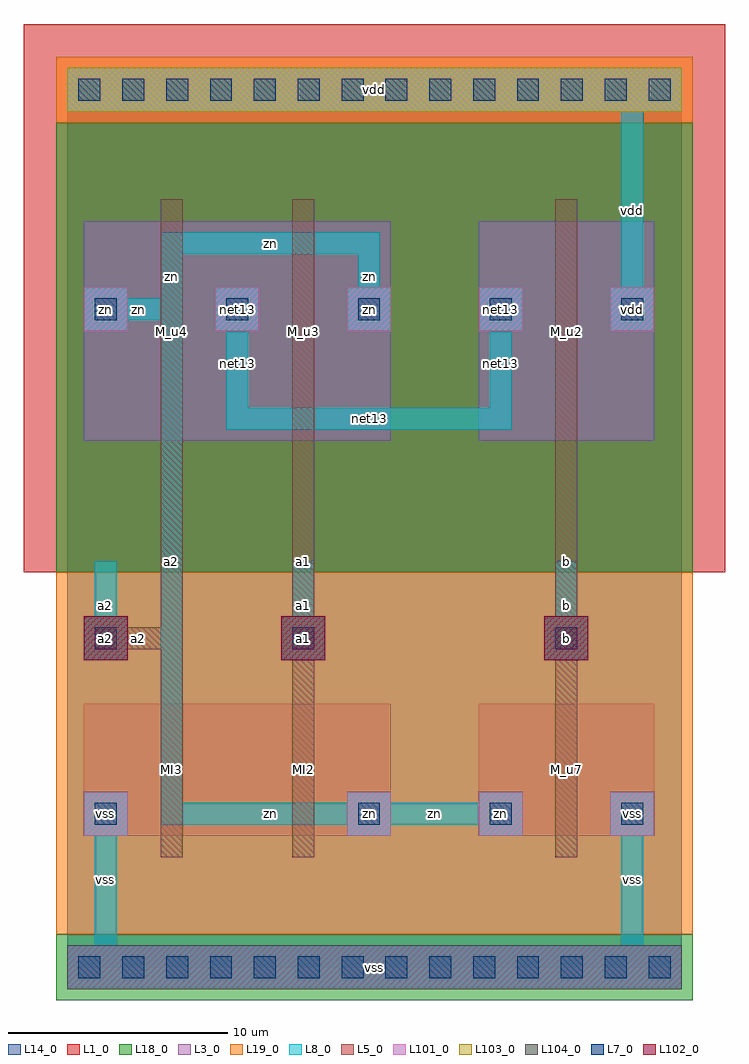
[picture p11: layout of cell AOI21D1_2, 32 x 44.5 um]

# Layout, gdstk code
import gdstk
lib = gdstk.Library(unit=1e-6, precision=1e-09)
def R(c, l, rs):  # rectangles x0, y0, x1, y1
    for r in rs: c.add(gdstk.rectangle(r[:2], r[2:], *l))
def A(c, l, x, y, w, h, nx, ny, dx, dy):  # array of equal rectangles
    R(c, l, [(x+i*dx, y+j*dy, x+i*dx+w, y+j*dy+h) for i in range(nx) for j in range(ny)])
L1_0 = (1, 0)
L3_0 = (3, 0)
L5_0 = (5, 0)
L7_0 = (7, 0)
L8_0 = (8, 0)
L13_0 = (13, 0)
L14_0 = (14, 0)
L18_0 = (18, 0)
L19_0 = (19, 0)
L101_0 = (101, 0)
L102_0 = (102, 0)
L103_0 = (103, 0)
L104_0 = (104, 0)

aoi21d1_2 = lib.new_cell('AOI21D1_2')
R(aoi21d1_2, L1_0, [(-2,18,30,43)])
A(aoi21d1_2, L3_0, 12.75, 6, 2, 2, 3, 1, 6, 0)
A(aoi21d1_2, L3_0, 0.75, 29, 2, 2, 5, 1, 6, 0)
R(aoi21d1_2, L3_0, [(0,-1,28,1), (0,-1,28,1), (0.75,6,8.75,12), (0.75,6,2.75,8), (6.75,6,14.75,12), (18.75,6,26.75,12), (0.75,24,8.75,34), (6.75,24,14.75,34), (18.75,24,26.75,34), (0,39,28,41), (0,39,28,41)])
R(aoi21d1_2, L5_0, [(4.25,5,5.25,13), (10.25,5,11.25,13), (22.25,5,23.25,13), (4.25,6.5,5.25,30.5), (10.25,6.5,11.25,30.5), (22.25,6.5,23.25,30.5), (0.75,14,2.75,16), (9.75,14,11.75,16), (21.75,14,23.75,16), (1.25,14.5,5.25,15.5), (4.25,23,5.25,35), (10.25,23,11.25,35), (22.25,23,23.25,35)])
A(aoi21d1_2, L7_0, 0.5, -0.5, 1, 1, 14, 2, 2, 40)
A(aoi21d1_2, L7_0, 13.25, 6.5, 1, 1, 3, 1, 6, 0)
A(aoi21d1_2, L7_0, 1.25, 29.5, 1, 1, 5, 1, 6, 0)
R(aoi21d1_2, L7_0, [(1.25,6.5,2.25,7.5), (1.25,14.5,2.25,15.5), (10.25,14.5,11.25,15.5), (22.25,14.5,23.25,15.5)])
A(aoi21d1_2, L8_0, 12.75, 6, 2, 2, 3, 1, 6, 0)
A(aoi21d1_2, L8_0, 0.75, 29, 2, 2, 5, 1, 6, 0)
R(aoi21d1_2, L8_0, [(0,-1,28,1), (1.25,0.5,2.25,7.5), (25.25,0.5,26.25,7.5), (0.75,6,2.75,8), (4.25,6.5,14.25,7.5), (4.25,6.5,5.25,30.5), (13.25,6.5,20.25,7.5), (0.75,14,2.75,16), (9.75,14,11.75,16), (21.75,14,23.75,16), (1.25,14.5,2.25,18.5), (10.25,14.5,11.25,18.5), (22.25,14.5,23.25,18.5), (7.25,24.5,8.25,30.5), (7.25,24.5,20.25,25.5), (19.25,24.5,20.25,30.5), (1.25,29.5,5.25,30.5), (4.25,29.5,5.25,33.5), (13.25,29.5,14.25,33.5), (25.25,29.5,26.25,39.5), (4.25,32.5,14.25,33.5), (0,39,28,41)])
R(aoi21d1_2, L14_0, [(0,0,28,40)])
R(aoi21d1_2, L18_0, [(-0.5,-1.5,28.5,1.5), (-0.5,18,28.5,38.5)])
R(aoi21d1_2, L19_0, [(-0.5,1.5,28.5,18), (-0.5,38.5,28.5,41.5)])
A(aoi21d1_2, L101_0, 0, -1, 2, 2, 14, 2, 2, 40)
A(aoi21d1_2, L101_0, 12.75, 6, 2, 2, 3, 1, 6, 0)
A(aoi21d1_2, L101_0, 0.75, 29, 2, 2, 5, 1, 6, 0)
R(aoi21d1_2, L101_0, [(0.75,6,2.75,8)])
R(aoi21d1_2, L102_0, [(0.75,14,2.75,16), (9.75,14,11.75,16), (21.75,14,23.75,16)])
R(aoi21d1_2, L103_0, [(0,39,28,41)])
R(aoi21d1_2, L104_0, [(0,-1,28,1)])
aoi21d1_2.add(gdstk.FlexPath([(0.75,3),(26.75,3)], 0, ends="flush", simple_path=True, layer=13, datatype=0))  # L13_0
aoi21d1_2.add(gdstk.FlexPath([(0.75,7),(26.75,7)], 0, ends="flush", simple_path=True, layer=13, datatype=0))  # L13_0
aoi21d1_2.add(gdstk.FlexPath([(0.75,11),(26.75,11)], 0, ends="flush", simple_path=True, layer=13, datatype=0))  # L13_0
aoi21d1_2.add(gdstk.FlexPath([(0.75,15),(26.75,15)], 0, ends="flush", simple_path=True, layer=13, datatype=0))  # L13_0
aoi21d1_2.add(gdstk.FlexPath([(0.75,18),(26.75,18)], 0, ends="flush", simple_path=True, layer=13, datatype=0))  # L13_0
aoi21d1_2.add(gdstk.FlexPath([(0.75,21),(26.75,21)], 0, ends="flush", simple_path=True, layer=13, datatype=0))  # L13_0
aoi21d1_2.add(gdstk.FlexPath([(0.75,25),(26.75,25)], 0, ends="flush", simple_path=True, layer=13, datatype=0))  # L13_0
aoi21d1_2.add(gdstk.FlexPath([(0.75,30),(26.75,30)], 0, ends="flush", simple_path=True, layer=13, datatype=0))  # L13_0
aoi21d1_2.add(gdstk.FlexPath([(0.75,33),(26.75,33)], 0, ends="flush", simple_path=True, layer=13, datatype=0))  # L13_0
aoi21d1_2.add(gdstk.FlexPath([(0.75,37),(26.75,37)], 0, ends="flush", simple_path=True, layer=13, datatype=0))  # L13_0
aoi21d1_2.add(gdstk.FlexPath([(1.75,0.5),(1.75,39.5)], 0, ends="flush", simple_path=True, layer=13, datatype=0))  # L13_0
aoi21d1_2.add(gdstk.FlexPath([(4.75,0.5),(4.75,39.5)], 0, ends="flush", simple_path=True, layer=13, datatype=0))  # L13_0
aoi21d1_2.add(gdstk.FlexPath([(7.75,0.5),(7.75,39.5)], 0, ends="flush", simple_path=True, layer=13, datatype=0))  # L13_0
aoi21d1_2.add(gdstk.FlexPath([(10.75,0.5),(10.75,39.5)], 0, ends="flush", simple_path=True, layer=13, datatype=0))  # L13_0
aoi21d1_2.add(gdstk.FlexPath([(13.75,0.5),(13.75,39.5)], 0, ends="flush", simple_path=True, layer=13, datatype=0))  # L13_0
aoi21d1_2.add(gdstk.FlexPath([(16.75,0.5),(16.75,39.5)], 0, ends="flush", simple_path=True, layer=13, datatype=0))  # L13_0
aoi21d1_2.add(gdstk.FlexPath([(19.75,0.5),(19.75,39.5)], 0, ends="flush", simple_path=True, layer=13, datatype=0))  # L13_0
aoi21d1_2.add(gdstk.FlexPath([(22.75,0.5),(22.75,39.5)], 0, ends="flush", simple_path=True, layer=13, datatype=0))  # L13_0
aoi21d1_2.add(gdstk.FlexPath([(25.75,0.5),(25.75,39.5)], 0, ends="flush", simple_path=True, layer=13, datatype=0))  # L13_0
aoi21d1_2.add(gdstk.Label('MI2', (10.75,9), layer=3, texttype=0))
aoi21d1_2.add(gdstk.Label('MI3', (4.75,9), layer=3, texttype=0))
aoi21d1_2.add(gdstk.Label('M_u7', (22.75,9), layer=3, texttype=0))
aoi21d1_2.add(gdstk.Label('M_u4', (4.75,29), layer=3, texttype=0))
aoi21d1_2.add(gdstk.Label('M_u2', (22.75,29), layer=3, texttype=0))
aoi21d1_2.add(gdstk.Label('M_u3', (10.75,29), layer=3, texttype=0))
aoi21d1_2.add(gdstk.Label('zn', (13.75,7), layer=3, texttype=0))
aoi21d1_2.add(gdstk.Label('zn', (19.75,7), layer=3, texttype=0))
aoi21d1_2.add(gdstk.Label('zn', (1.75,30), layer=3, texttype=0))
aoi21d1_2.add(gdstk.Label('zn', (13.75,30), layer=3, texttype=0))
aoi21d1_2.add(gdstk.Label('net13', (7.75,30), layer=3, texttype=0))
aoi21d1_2.add(gdstk.Label('net13', (19.75,30), layer=3, texttype=0))
aoi21d1_2.add(gdstk.Label('vss', (1.75,7), layer=3, texttype=0))
aoi21d1_2.add(gdstk.Label('vss', (25.75,7), layer=3, texttype=0))
aoi21d1_2.add(gdstk.Label('vdd', (25.75,30), layer=3, texttype=0))
aoi21d1_2.add(gdstk.Label('a1', (10.75,18.5), layer=5, texttype=0))
aoi21d1_2.add(gdstk.Label('a1', (10.75,15), layer=5, texttype=0))
aoi21d1_2.add(gdstk.Label('a2', (4.75,18.5), layer=5, texttype=0))
aoi21d1_2.add(gdstk.Label('a2', (3.25,15), layer=5, texttype=0))
aoi21d1_2.add(gdstk.Label('a2', (1.75,15), layer=5, texttype=0))
aoi21d1_2.add(gdstk.Label('b', (22.75,18.5), layer=5, texttype=0))
aoi21d1_2.add(gdstk.Label('b', (22.75,15), layer=5, texttype=0))
aoi21d1_2.add(gdstk.Label('zn', (13.75,7), layer=101, texttype=0))
aoi21d1_2.add(gdstk.Label('zn', (19.75,7), layer=101, texttype=0))
aoi21d1_2.add(gdstk.Label('zn', (1.75,30), layer=101, texttype=0))
aoi21d1_2.add(gdstk.Label('zn', (13.75,30), layer=101, texttype=0))
aoi21d1_2.add(gdstk.Label('net13', (7.75,30), layer=101, texttype=0))
aoi21d1_2.add(gdstk.Label('net13', (19.75,30), layer=101, texttype=0))
aoi21d1_2.add(gdstk.Label('vss', (1.75,7), layer=101, texttype=0))
aoi21d1_2.add(gdstk.Label('vss', (25.75,7), layer=101, texttype=0))
aoi21d1_2.add(gdstk.Label('vdd', (25.75,30), layer=101, texttype=0))
aoi21d1_2.add(gdstk.Label('a1', (10.75,15), layer=102, texttype=0))
aoi21d1_2.add(gdstk.Label('a2', (1.75,15), layer=102, texttype=0))
aoi21d1_2.add(gdstk.Label('b', (22.75,15), layer=102, texttype=0))
aoi21d1_2.add(gdstk.Label('zn', (13.75,7), layer=8, texttype=0))
aoi21d1_2.add(gdstk.Label('zn', (19.75,7), layer=8, texttype=0))
aoi21d1_2.add(gdstk.Label('zn', (1.75,30), layer=8, texttype=0))
aoi21d1_2.add(gdstk.Label('zn', (13.75,30), layer=8, texttype=0))
aoi21d1_2.add(gdstk.Label('zn', (9.25,7), layer=8, texttype=0))
aoi21d1_2.add(gdstk.Label('zn', (4.75,18.5), layer=8, texttype=0))
aoi21d1_2.add(gdstk.Label('zn', (3.25,30), layer=8, texttype=0))
aoi21d1_2.add(gdstk.Label('zn', (16.75,7), layer=8, texttype=0))
aoi21d1_2.add(gdstk.Label('zn', (4.75,31.5), layer=8, texttype=0))
aoi21d1_2.add(gdstk.Label('zn', (9.25,33), layer=8, texttype=0))
aoi21d1_2.add(gdstk.Label('zn', (13.75,31.5), layer=8, texttype=0))
aoi21d1_2.add(gdstk.Label('a1', (10.75,15), layer=8, texttype=0))
aoi21d1_2.add(gdstk.Label('a1', (10.75,16.5), layer=8, texttype=0))
aoi21d1_2.add(gdstk.Label('a2', (1.75,15), layer=8, texttype=0))
aoi21d1_2.add(gdstk.Label('a2', (1.75,16.5), layer=8, texttype=0))
aoi21d1_2.add(gdstk.Label('b', (22.75,15), layer=8, texttype=0))
aoi21d1_2.add(gdstk.Label('b', (22.75,16.5), layer=8, texttype=0))
aoi21d1_2.add(gdstk.Label('net13', (7.75,30), layer=8, texttype=0))
aoi21d1_2.add(gdstk.Label('net13', (19.75,30), layer=8, texttype=0))
aoi21d1_2.add(gdstk.Label('net13', (7.75,27.5), layer=8, texttype=0))
aoi21d1_2.add(gdstk.Label('net13', (13.75,25), layer=8, texttype=0))
aoi21d1_2.add(gdstk.Label('net13', (19.75,27.5), layer=8, texttype=0))
aoi21d1_2.add(gdstk.Label('vss', (1.75,7), layer=8, texttype=0))
aoi21d1_2.add(gdstk.Label('vss', (1.75,4), layer=8, texttype=0))
aoi21d1_2.add(gdstk.Label('vss', (25.75,7), layer=8, texttype=0))
aoi21d1_2.add(gdstk.Label('vss', (25.75,4), layer=8, texttype=0))
aoi21d1_2.add(gdstk.Label('vdd', (25.75,30), layer=8, texttype=0))
aoi21d1_2.add(gdstk.Label('vdd', (25.75,34.5), layer=8, texttype=0))
aoi21d1_2.add(gdstk.Label('vss', (14,0), layer=8, texttype=0))
aoi21d1_2.add(gdstk.Label('vdd', (14,40), layer=8, texttype=0))

lib.write_gds('AOI21D1_2.gds')
